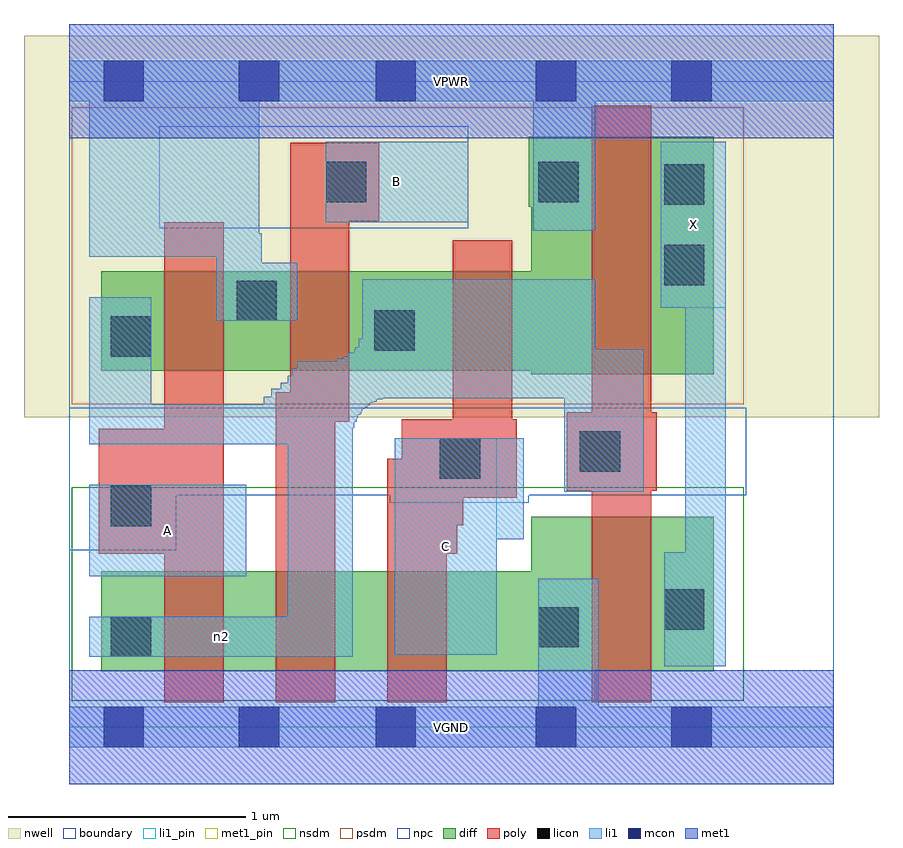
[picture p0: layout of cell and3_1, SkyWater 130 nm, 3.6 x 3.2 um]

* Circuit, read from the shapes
.subckt and3_1 A B C VGND VPWR X n2
XM1 n1 A n2 VSUBS sky130_fd_pr__nfet_01v8 w=0.42 l=0.25
XM2 n3 B n1 VSUBS sky130_fd_pr__nfet_01v8 w=0.42 l=0.25
XM3 VGND C n3 VSUBS sky130_fd_pr__nfet_01v8 w=0.42 l=0.25
XM4 X n2 VGND VSUBS sky130_fd_pr__nfet_01v8 w=0.65 l=0.25
XM5 VPWR A n2 n4 sky130_fd_pr__pfet_01v8 w=0.42 l=0.25
XM6 n2 B VPWR n4 sky130_fd_pr__pfet_01v8 w=0.42 l=0.25
XM7 VPWR C n2 n4 sky130_fd_pr__pfet_01v8 w=0.42 l=0.25
XM8 X n2 VPWR n4 sky130_fd_pr__pfet_01v8 w=1 l=0.25
.ends

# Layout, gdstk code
import gdstk
lib = gdstk.Library(unit=1e-6, precision=1e-09)
def R(c, l, rs):  # rectangles x0, y0, x1, y1
    for r in rs: c.add(gdstk.rectangle(r[:2], r[2:], *l))
nwell = (64, 20)
diff = (65, 20)
poly = (66, 20)
licon = (66, 44)
li1_pin = (67, 16)
li1 = (67, 20)
mcon = (67, 44)
met1_pin = (68, 16)
met1 = (68, 20)
nsdm = (93, 44)
psdm = (94, 20)
npc = (95, 20)
boundary = (235, 4)

and3_1 = lib.new_cell('and3_1')
R(and3_1, nwell, [(-0.19,1.305,3.41,2.91), (0,1.305,3.22,2.91)])
R(and3_1, diff, [(0.135,0.235,2.715,0.655), (1.945,0.235,2.715,0.885), (1.945,1.485,2.715,2.485), (0.135,1.5,2.715,1.92), (1.935,2.19,2.715,2.485)])
R(and3_1, poly, [(0.4,0.105,0.65,2.125), (0.87,0.105,1.12,1.41), (1.34,0.105,1.59,1.13), (2.2,0.105,2.45,2.615), (0.125,0.73,0.65,1.255), (1.4,0.73,1.635,1.295), (1.4,0.85,1.66,1.295), (1.4,0.965,1.885,1.295), (1.615,0.965,1.865,2.05), (2.095,0.995,2.475,1.325), (0.93,1.285,1.18,2.46), (0.93,2.13,1.305,2.46)])
R(and3_1, licon, [(0.175,0.295,0.345,0.465), (1.975,0.335,2.145,0.505), (2.505,0.41,2.675,0.58), (0.175,0.845,0.345,1.015), (1.56,1.045,1.73,1.215), (2.15,1.075,2.32,1.245), (0.175,1.56,0.345,1.73), (1.285,1.585,1.455,1.755), (0.705,1.71,0.875,1.88), (2.505,1.86,2.675,2.03), (2.505,2.2,2.675,2.37), (1.08,2.21,1.25,2.38), (1.975,2.21,2.145,2.38)])
R(and3_1, li1_pin, [(1.37,0.305,1.8,1.215), (0.085,0.635,0.745,1.02), (2.49,1.765,2.765,2.465), (1.08,2.125,1.68,2.465)])
R(and3_1, li1, [(0,-0.085,3.22,0.085), (1.975,-0.085,2.23,0.625), (2.505,0.255,2.765,0.735), (2.595,0.255,2.765,2.465), (0.085,0.295,1.195,0.465), (0.92,0.295,1.195,1.48), (0.94,0.295,1.195,1.51), (1.37,0.305,1.8,1.215), (0.085,0.635,0.745,1.02), (1.37,0.79,1.915,1.215), (2.085,0.99,2.42,1.59), (0.085,1.19,1.195,1.36), (0.085,1.19,0.345,1.81), (0.85,1.19,1.195,1.425), (1.175,1.26,1.2,1.575), (0.82,1.285,1.21,1.39), (0.82,1.3,1.215,1.39), (0.82,1.315,1.225,1.39), (0.82,1.32,1.23,1.39), (0.82,1.33,1.235,1.39), (0.82,1.34,1.245,1.39), (0.82,1.345,1.255,1.39), (1.2,1.355,1.265,1.59), (1.2,1.365,1.28,1.59), (1.2,1.37,1.295,1.59), (1.2,1.38,1.32,1.59), (0.89,1.385,2.42,1.45), (0.96,1.385,2.42,1.54), (1.13,1.385,2.42,1.55), (1.155,1.385,2.42,1.56), (1.205,1.385,2.215,1.6), (1.22,1.385,2.215,1.635), (1.235,1.385,2.215,1.885), (0.62,1.71,0.96,1.955), (0.62,1.71,0.81,2.08), (2.49,1.765,2.765,2.465), (0.085,1.98,0.8,2.635), (1.955,2.09,2.215,2.805), (1.08,2.125,1.68,2.465), (0,2.635,3.22,2.805)])
R(and3_1, mcon, [(0.145,-0.085,0.315,0.085), (0.715,-0.085,0.885,0.085), (1.29,-0.085,1.46,0.085), (1.965,-0.085,2.135,0.085), (2.535,-0.085,2.705,0.085), (0.145,2.635,0.315,2.805), (0.715,2.635,0.885,2.805), (1.29,2.635,1.46,2.805), (1.965,2.635,2.135,2.805), (2.535,2.635,2.705,2.805)])
R(and3_1, met1_pin, [(0,-0.24,3.22,0.24), (0,2.48,3.22,2.96)])
R(and3_1, met1, [(0,-0.24,3.22,0.24), (0,2.48,3.22,2.96)])
R(and3_1, nsdm, [(0.01,0.11,2.84,1.01)])
R(and3_1, psdm, [(0.01,1.36,2.84,2.61)])
R(and3_1, npc, [(0,0.745,0.45,1.345), (1.35,0.945,1.935,1.345), (0,0.975,2.85,1.345), (0.38,2.1,1.68,2.53)])
R(and3_1, boundary, [(0,0,3.22,2.72)])
and3_1.add(gdstk.Label('A', (0.415,0.827), layer=67, texttype=5))
and3_1.add(gdstk.Label('B', (1.38,2.295), layer=67, texttype=5))
and3_1.add(gdstk.Label('C', (1.585,0.76), layer=67, texttype=5))
and3_1.add(gdstk.Label('X', (2.627,2.115), layer=67, texttype=5))
and3_1.add(gdstk.Label('n2', (0.64,0.38), layer=67, texttype=5))
and3_1.add(gdstk.Label('VPWR', (1.61,2.72), layer=68, texttype=5))
and3_1.add(gdstk.Label('VGND', (1.61,0), layer=68, texttype=5))
and3_1.add(gdstk.Label('A', (0.415,0.827), layer=67, texttype=16))
and3_1.add(gdstk.Label('B', (1.38,2.295), layer=67, texttype=16))
and3_1.add(gdstk.Label('C', (1.585,0.76), layer=67, texttype=16))
and3_1.add(gdstk.Label('X', (2.627,2.115), layer=67, texttype=16))
and3_1.add(gdstk.Label('VPWR', (1.61,2.72), layer=68, texttype=16))
and3_1.add(gdstk.Label('VGND', (1.61,0), layer=68, texttype=16))

lib.write_gds('and3_1.gds')
